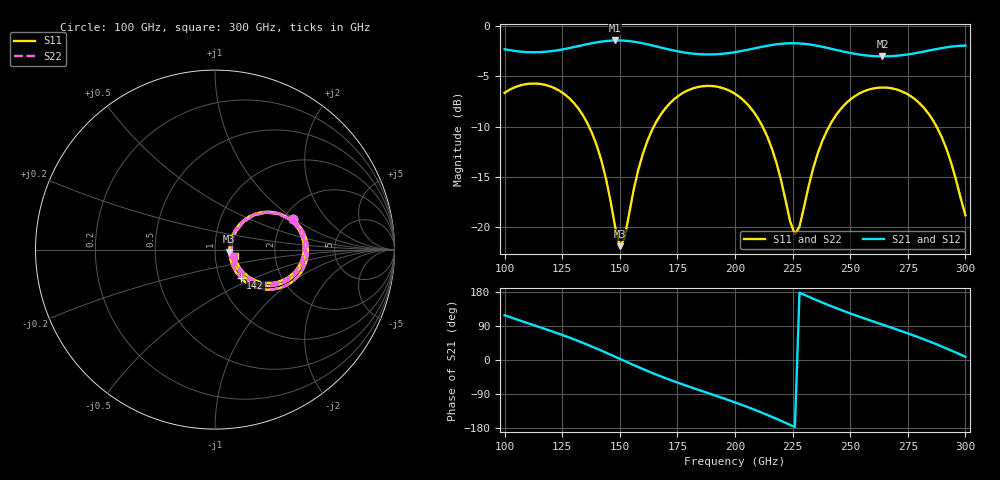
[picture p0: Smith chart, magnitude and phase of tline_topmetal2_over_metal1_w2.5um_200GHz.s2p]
#  GHZ S DB R 50
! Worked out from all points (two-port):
!   101 points, 100 GHz to 300 GHz, reference 50 ohm
!   highest |S21| = -1.43 dB at 148 GHz (marker M1); lowest = -3.0 dB at 264 GHz (marker M2)
!   |S21| within 3 dB of the highest: start of sweep to end of sweep
!   lowest |S11| = -21.9 dB at 150 GHz (marker M3), VSWR 1.17, Z = 58.6 - j1.37 ohm
!   |S11| at or under -10 dB: 136.6 GHz to 164.8 GHz (28.18 GHz wide, 18.7 % of centre); 212 GHz to 240.9 GHz (28.89 GHz wide, 12.8 % of centre); 287.5 GHz to end of sweep
!   |S22| runs from -21.7 to -5.7 dB; largest |S21 - S12| = 1.4e-13
!   S11 on the Smith chart (normalised r, x): 100 GHz: 2.24, +0.97; 142 GHz: 1.26, -0.42; 300 GHz: 1.24, -0.08
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100  -6.64 21.4  -2.30 118.1  -2.30 118.1  -6.64 21.4
116  -5.78 -6.6  -2.58 85.1  -2.58 85.1  -5.78 -6.5
126  -6.78 -24.2  -2.28 63.9  -2.28 63.9  -6.78 -24.1
134  -8.88 -38.3  -1.89 45.3  -1.89 45.3  -8.88 -38.0
142  -13.37 -48.0  -1.54 24.8  -1.54 24.8  -13.36 -47.5
148  -20.02 -32.0  -1.43 8.5  -1.43 8.5  -19.90 -31.2
150  -21.91 -8.3  -1.43 3.0  -1.43 3.0  -21.70 -7.9
152  -21.19 19.9  -1.45 -2.4  -1.45 -2.4  -20.99 19.5
160  -12.72 45.7  -1.71 -23.8  -1.71 -23.8  -12.69 45.2
168  -8.73 35.3  -2.14 -43.7  -2.14 -43.7  -8.72 35.0
184  -6.06 8.0  -2.79 -78.5  -2.79 -78.5  -6.05 7.9
200  -6.74 -19.1  -2.59 -111.9  -2.59 -111.9  -6.73 -19.2
214  -11.00 -41.0  -1.96 -144.9  -1.96 -144.9  -10.98 -40.8
226  -20.72 -2.6  -1.70 -176.9  -1.70 -176.9  -20.51 -2.6
228  -19.96 20.1  -1.72 177.7  -1.72 177.7  -19.77 19.4
234  -14.10 44.0  -1.89 161.6  -1.89 161.6  -14.05 43.2
246  -8.22 31.7  -2.48 132.0  -2.48 132.0  -8.21 31.1
264  -6.11 2.0  -3.01 93.4  -3.01 93.4  -6.11 1.5
268  -6.19 -4.6  -2.99 85.1  -2.99 85.1  -6.19 -5.1
286  -9.40 -33.2  -2.35 45.0  -2.35 45.0  -9.41 -33.9
292  -12.36 -38.8  -2.10 29.9  -2.10 29.9  -12.39 -39.7
300  -18.84 -17.1  -1.94 8.6  -1.94 8.6  -19.00 -18.0
